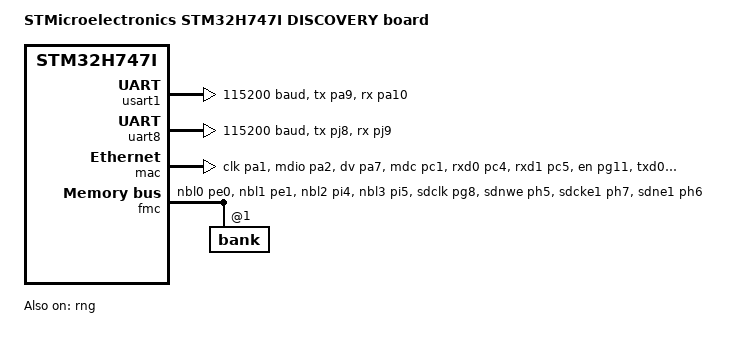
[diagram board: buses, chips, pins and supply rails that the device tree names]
/*
 * Copyright (c) 2019 Linaro Limited
 *
 * SPDX-License-Identifier: Apache-2.0
 */

/dts-v1/;
#include <st/h7/stm32h747Xi_m7.dtsi>
#include <st/h7/stm32h747xihx-pinctrl.dtsi>
#include "stm32h747i_disco.dtsi"

/ {
	model = "STMicroelectronics STM32H747I DISCOVERY board";
	compatible = "st,stm32h747i-disco";

	/* HW resources are split between CM7 and CM4 */
	chosen {
		zephyr,console = &usart1;
		zephyr,shell-uart = &usart1;
		zephyr,sram = &sram0;
		zephyr,flash = &flash0;
	};

	sdram2: sdram@d0000000 {
		device_type = "memory";
		reg = <0xd0000000 DT_SIZE_M(32)>;
	};

	leds {
		green_led_1:led_1 {
			status = "okay";
		};
		orange_led_2:led_2 {
			status = "okay";
		};
	};

	gpio_keys {
		wake_up: button {
			status = "okay";
		};
	};

	aliases {
		led0 = &green_led_1;
		led1 = &orange_led_2;
		sw0 = &wake_up;
	};
};

&usart1 {
	pinctrl-0 = <&usart1_tx_pa9 &usart1_rx_pa10>;
	current-speed = <115200>;
	status = "okay";
};

&uart8 {
	pinctrl-0 = <&uart8_tx_pj8 &uart8_rx_pj9>;
	current-speed = <115200>;
	status = "okay";
};


&mac {
	/*
	 * From UM2411 Rev 4:
	 * With the default setting, the Ethernet feature is not working due
	 * of a pin conflict between ETH_MDC and SAI4_D1 of the MEMs digital
	 * microphone.
	 * Cf Ethernet section in board documentation for more information on
	 * the hw modification to be done to enable it.
	 */
	status = "okay";
	pinctrl-0 = <&eth_ref_clk_pa1
		     &eth_mdio_pa2
		     &eth_crs_dv_pa7
		     &eth_mdc_pc1
		     &eth_rxd0_pc4
		     &eth_rxd1_pc5
		     &eth_tx_en_pg11
		     &eth_txd0_pg13
		     &eth_txd1_pg12>;
};

&rng {
	status = "okay";
};

&fmc {
	status = "okay";
	pinctrl-0 = <&fmc_nbl0_pe0 &fmc_nbl1_pe1 &fmc_nbl2_pi4 &fmc_nbl3_pi5
		     &fmc_sdclk_pg8 &fmc_sdnwe_ph5 &fmc_sdcke1_ph7
		     &fmc_sdne1_ph6 &fmc_sdnras_pf11 &fmc_sdncas_pg15
		     &fmc_a0_pf0 &fmc_a1_pf1 &fmc_a2_pf2 &fmc_a3_pf3 &fmc_a4_pf4
		     &fmc_a5_pf5 &fmc_a6_pf12 &fmc_a7_pf13 &fmc_a8_pf14
		     &fmc_a9_pf15 &fmc_a10_pg0 &fmc_a11_pg1 &fmc_a12_pg2
		     &fmc_a14_pg4 &fmc_a15_pg5 &fmc_d0_pd14 &fmc_d1_pd15
		     &fmc_d2_pd0 &fmc_d3_pd1 &fmc_d4_pe7 &fmc_d5_pe8 &fmc_d6_pe9
		     &fmc_d7_pe10 &fmc_d8_pe11 &fmc_d9_pe12 &fmc_d10_pe13
		     &fmc_d11_pe14 &fmc_d12_pe15 &fmc_d13_pd8 &fmc_d14_pd9
		     &fmc_d15_pd10 &fmc_d16_ph8 &fmc_d17_ph9 &fmc_d18_ph10
		     &fmc_d19_ph11 &fmc_d20_ph12 &fmc_d21_ph13 &fmc_d22_ph14
		     &fmc_d23_ph15 &fmc_d24_pi0 &fmc_d25_pi1 &fmc_d26_pi2
		     &fmc_d27_pi3 &fmc_d28_pi6 &fmc_d29_pi7 &fmc_d30_pi9
		     &fmc_d31_pi10>;

	sdram {
		status = "okay";

		power-up-delay = <100>;
		num-auto-refresh = <8>;
		mode-register = <0x220>;
		refresh-rate = <603>;

		bank@1 {
			reg = <1>;

			st,sdram-control = <STM32_FMC_SDRAM_NC_9
					    STM32_FMC_SDRAM_NR_12
					    STM32_FMC_SDRAM_MWID_32
					    STM32_FMC_SDRAM_NB_4
					    STM32_FMC_SDRAM_CAS_2
					    STM32_FMC_SDRAM_SDCLK_PERIOD_2
					    STM32_FMC_SDRAM_RBURST_ENABLE
					    STM32_FMC_SDRAM_RPIPE_0>;
			st,sdram-timing = <2 6 4 6 2 2 2>;
		};
	};
};
